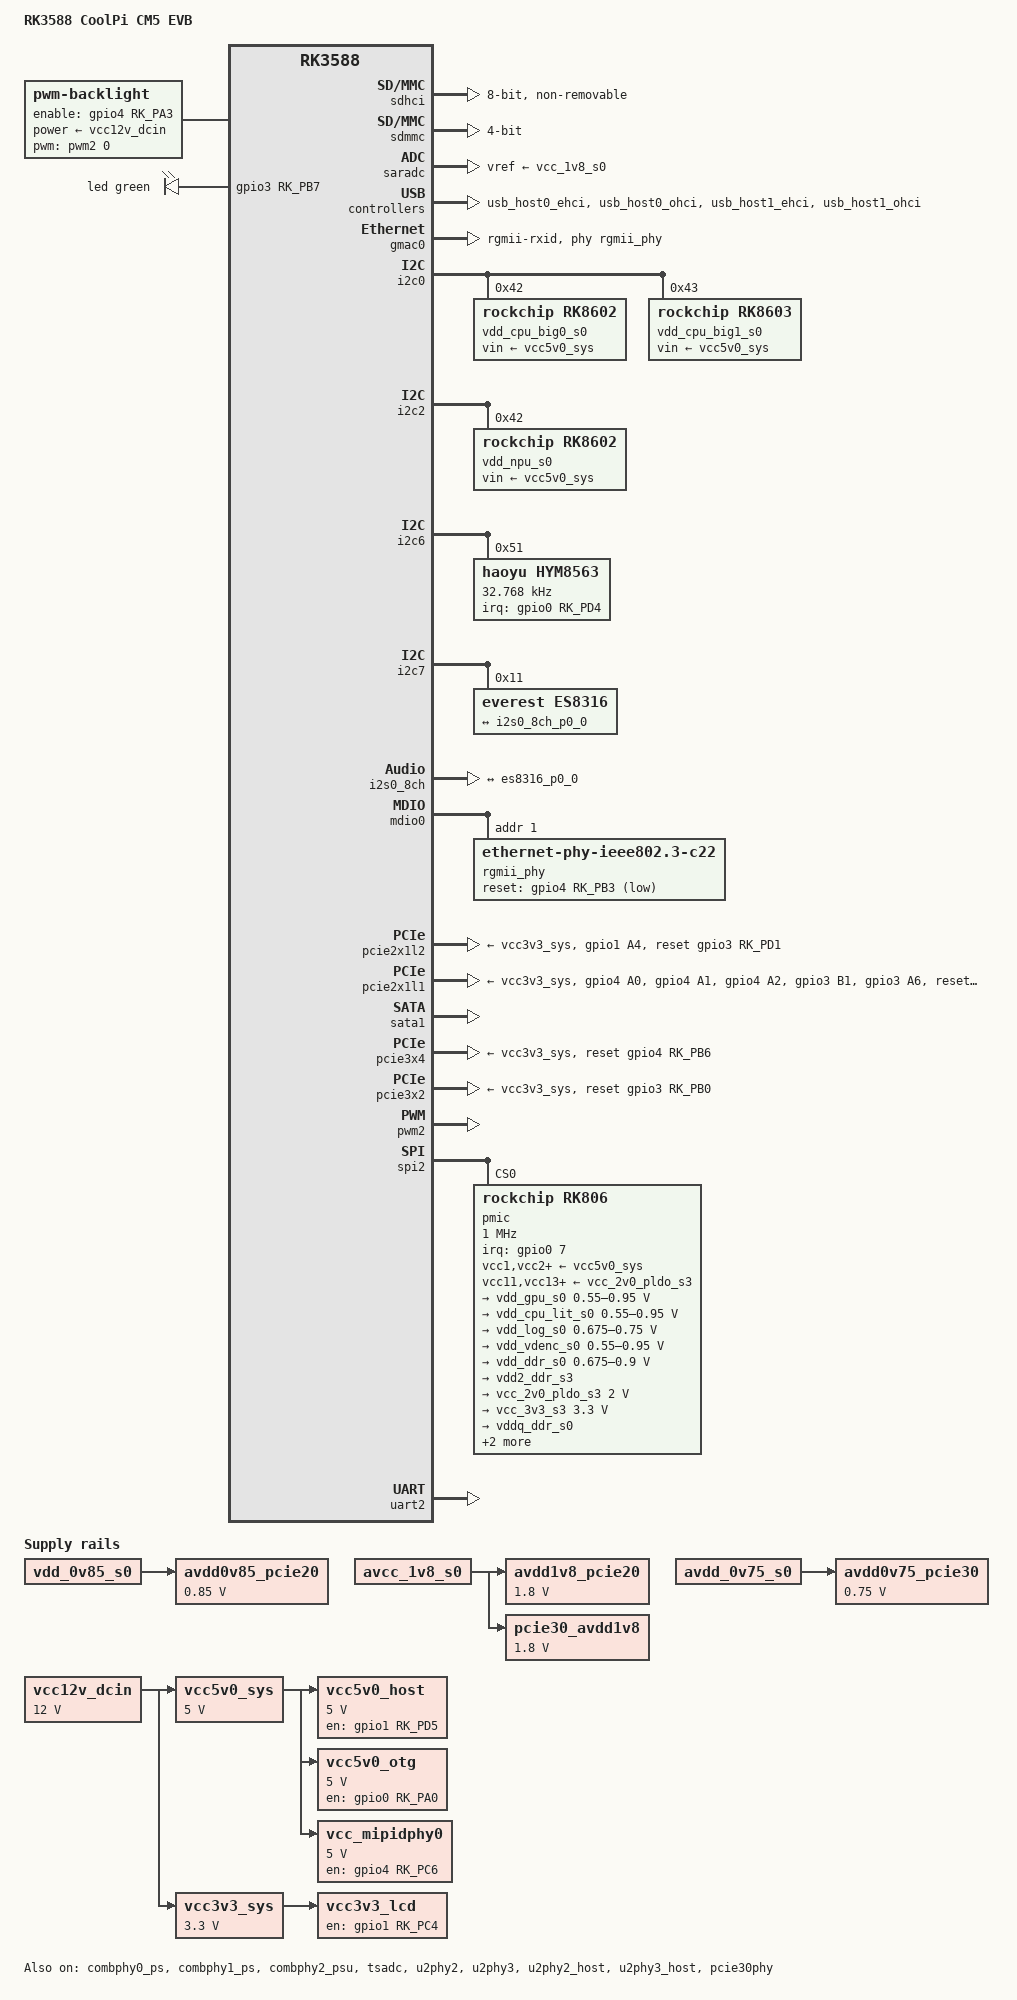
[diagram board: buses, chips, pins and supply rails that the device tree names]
// SPDX-License-Identifier: (GPL-2.0+ OR MIT)
/*
 * Copyright (c) 2023 Rockchip Electronics Co., Ltd.
 *
 */

/dts-v1/;

#include <dt-bindings/gpio/gpio.h>
#include <dt-bindings/leds/common.h>
#include <dt-bindings/pwm/pwm.h>
#include <dt-bindings/pinctrl/rockchip.h>
#include "rk3588.dtsi"

/ {
	model = "RK3588 CoolPi CM5 EVB";
	compatible = "coolpi,pi-cm5-evb", "rockchip,rk3588";

	aliases {
		mmc0 = &sdhci;
		mmc1 = &sdio;
		mmc2 = &sdmmc;
		serial2 = &uart2;
	};

	analog-sound {
		compatible = "audio-graph-card";
		label = "rk3588-es8316";

		widgets = "Microphone", "Mic Jack",
			  "Headphone", "Headphones";

		routing = "MIC2", "Mic Jack",
			  "Headphones", "HPOL",
			  "Headphones", "HPOR";

		dais = <&i2s0_8ch_p0>;
	};

	backlight: backlight {
		compatible = "pwm-backlight";
		power-supply = <&vcc12v_dcin>;
		pwms = <&pwm2 0 25000 0>;
		enable-gpios = <&gpio4 RK_PA3 GPIO_ACTIVE_HIGH>;
		pinctrl-names = "default";
		pinctrl-0 = <&bl_en>;
		status = "okay";
	};

	chosen {
		stdout-path = "serial2:1500000n8";
	};

	leds: leds {
		status = "okay";
		compatible = "gpio-leds";

		led: led-green {
			color = <LED_COLOR_ID_GREEN>;
			function = LED_FUNCTION_STATUS;
			gpios = <&gpio3 RK_PB7 GPIO_ACTIVE_HIGH>;
			linux,default-trigger = "heartbeat";
		};
	};

	vcc12v_dcin: vcc12v-dcin-regulator {
		compatible = "regulator-fixed";
		regulator-name = "vcc12v_dcin";
		regulator-always-on;
		regulator-boot-on;
		regulator-min-microvolt = <12000000>;
		regulator-max-microvolt = <12000000>;
	};

	vcc5v0_sys: vcc5v0-sys-regulator {
		compatible = "regulator-fixed";
		regulator-name = "vcc5v0_sys";
		regulator-always-on;
		regulator-boot-on;
		regulator-min-microvolt = <5000000>;
		regulator-max-microvolt = <5000000>;
		vin-supply = <&vcc12v_dcin>;
	};

	vcc3v3_sys: vcc3v3-sys-regulator {
		compatible = "regulator-fixed";
		regulator-name = "vcc3v3_sys";
		regulator-always-on;
		regulator-boot-on;
		regulator-min-microvolt = <3300000>;
		regulator-max-microvolt = <3300000>;
		vin-supply = <&vcc12v_dcin>;
	};

	vcc3v3_lcd: vcc3v3-lcd-regulator {
		compatible = "regulator-fixed";
		regulator-name = "vcc3v3_lcd";
		enable-active-high;
		gpio = <&gpio1 RK_PC4 GPIO_ACTIVE_HIGH>;
		pinctrl-names = "default";
		pinctrl-0 = <&lcdpwr_en>;
		vin-supply = <&vcc3v3_sys>;
	};

	avdd0v85_pcie20: avdd0v85-pcie20-regulator {
		compatible = "regulator-fixed";
		regulator-name = "avdd0v85_pcie20";
		regulator-boot-on;
		regulator-always-on;
		regulator-min-microvolt = <850000>;
		regulator-max-microvolt = <850000>;
		vin-supply = <&vdd_0v85_s0>;
	};

	avdd1v8_pcie20: avdd1v8-pcie20-regulator {
		compatible = "regulator-fixed";
		regulator-name = "avdd1v8_pcie20";
		regulator-boot-on;
		regulator-always-on;
		regulator-min-microvolt = <1800000>;
		regulator-max-microvolt = <1800000>;
		vin-supply = <&avcc_1v8_s0>;
	};

	avdd0v75_pcie30: avdd0v75-pcie30-regulator {
		compatible = "regulator-fixed";
		regulator-name = "avdd0v75_pcie30";
		regulator-boot-on;
		regulator-always-on;
		regulator-min-microvolt = <750000>;
		regulator-max-microvolt = <750000>;
		vin-supply = <&avdd_0v75_s0>;
	};

	pcie30_avdd1v8: avdd1v8-pcie30-regulator {
		compatible = "regulator-fixed";
		regulator-name = "pcie30_avdd1v8";
		regulator-boot-on;
		regulator-always-on;
		regulator-min-microvolt = <1800000>;
		regulator-max-microvolt = <1800000>;
		vin-supply = <&avcc_1v8_s0>;
	};

	vcc5v0_host: vcc5v0-host-regulator {
		compatible = "regulator-fixed";
		regulator-name = "vcc5v0_host";
		regulator-boot-on;
		regulator-always-on;
		enable-active-high;
		regulator-min-microvolt = <5000000>;
		regulator-max-microvolt = <5000000>;
		gpio = <&gpio1 RK_PD5 GPIO_ACTIVE_HIGH>;
		pinctrl-names = "default";
		pinctrl-0 = <&vcc5v0_host1_en>;
		vin-supply = <&vcc5v0_sys>;
	};

	vcc5v0_otg: vcc5v0-otg-regulator {
		compatible = "regulator-fixed";
		regulator-name = "vcc5v0_otg";
		regulator-boot-on;
		regulator-always-on;
		enable-active-high;
		regulator-min-microvolt = <5000000>;
		regulator-max-microvolt = <5000000>;
		gpios = <&gpio0 RK_PA0 GPIO_ACTIVE_HIGH>;
		pinctrl-names = "default";
		pinctrl-0 = <&typec5v_pwren>;
		vin-supply = <&vcc5v0_sys>;
	};

	vcc_mipidphy0: vcc-mipi-dphy0-regulator {
		compatible = "regulator-fixed";
		regulator-name = "vcc_mipidphy0";
		regulator-min-microvolt = <5000000>;
		regulator-max-microvolt = <5000000>;
		regulator-boot-on;
		regulator-always-on;
		enable-active-high;
		gpios = <&gpio4 RK_PC6 GPIO_ACTIVE_HIGH>;
		vin-supply = <&vcc5v0_sys>;
		pinctrl-names = "default";
		pinctrl-0 = <&cam_en>;
	};
};

&combphy0_ps {
	status = "okay";
};

&combphy1_ps {
	status = "okay";
};

&combphy2_psu {
	status = "okay";
};

&cpu_b0 {
	cpu-supply = <&vdd_cpu_big0_s0>;
};

&cpu_b1 {
	cpu-supply = <&vdd_cpu_big0_s0>;
};

&cpu_b2 {
	cpu-supply = <&vdd_cpu_big1_s0>;
};

&cpu_b3 {
	cpu-supply = <&vdd_cpu_big1_s0>;
};

&cpu_l0 {
	cpu-supply = <&vdd_cpu_lit_s0>;
};

&cpu_l1 {
	cpu-supply = <&vdd_cpu_lit_s0>;
};

&cpu_l2 {
	cpu-supply = <&vdd_cpu_lit_s0>;
};

&cpu_l3 {
	cpu-supply = <&vdd_cpu_lit_s0>;
};

&sdhci {
	bus-width = <8>;
	no-sdio;
	no-sd;
	non-removable;
	max-frequency = <200000000>;
	mmc-hs400-1_8v;
	mmc-hs400-enhanced-strobe;
	status = "okay";
};

&sdmmc {
	max-frequency = <150000000>;
	no-sdio;
	no-mmc;
	bus-width = <4>;
	cap-mmc-highspeed;
	cap-sd-highspeed;
	disable-wp;
	sd-uhs-sdr104;
	vqmmc-supply = <&vccio_sd_s0>;
	status = "okay";
};

&saradc {
	vref-supply = <&vcc_1v8_s0>;
	status = "okay";
};

&tsadc {
	status = "okay";
};

&u2phy2 {
	status = "okay";
};

&u2phy3 {
	status = "okay";
};

&u2phy2_host {
	phy-supply = <&vcc5v0_host>;
	status = "okay";
};

&u2phy3_host {
	phy-supply = <&vcc5v0_host>;
	status = "okay";
};

&usb_host0_ehci {
	status = "okay";
};

&usb_host0_ohci {
	status = "okay";
};

&usb_host1_ehci {
	status = "okay";
};

&usb_host1_ohci {
	status = "okay";
};

&gmac0 {
	clock_in_out = "output";
	phy-handle = <&rgmii_phy>;
	phy-mode = "rgmii-rxid";
	pinctrl-0 = <&gmac0_miim
		     &gmac0_tx_bus2
		     &gmac0_rx_bus2
		     &gmac0_rgmii_clk
		     &gmac0_rgmii_bus>;
	pinctrl-names = "default";
	rx_delay = <0x00>;
	tx_delay = <0x43>;
	status = "okay";
};

&i2c0 {
	pinctrl-names = "default";
	pinctrl-0 = <&i2c0m2_xfer>;
	status = "okay";

	vdd_cpu_big0_s0: regulator@42 {
		compatible = "rockchip,rk8602";
		reg = <0x42>;
		fcs,suspend-voltage-selector = <1>;
		regulator-name = "vdd_cpu_big0_s0";
		regulator-always-on;
		regulator-boot-on;
		regulator-min-microvolt = <550000>;
		regulator-max-microvolt = <1050000>;
		regulator-ramp-delay = <2300>;
		vin-supply = <&vcc5v0_sys>;

		regulator-state-mem {
			regulator-off-in-suspend;
		};
	};

	vdd_cpu_big1_s0: regulator@43 {
		compatible = "rockchip,rk8603", "rockchip,rk8602";
		reg = <0x43>;
		fcs,suspend-voltage-selector = <1>;
		regulator-name = "vdd_cpu_big1_s0";
		regulator-always-on;
		regulator-boot-on;
		regulator-min-microvolt = <550000>;
		regulator-max-microvolt = <1050000>;
		regulator-ramp-delay = <2300>;
		vin-supply = <&vcc5v0_sys>;

		regulator-state-mem {
			regulator-off-in-suspend;
		};
	};
};

&i2c2 {
	status = "okay";

	vdd_npu_s0: regulator@42 {
		compatible = "rockchip,rk8602";
		reg = <0x42>;
		fcs,suspend-voltage-selector = <1>;
		regulator-name = "vdd_npu_s0";
		regulator-always-on;
		regulator-boot-on;
		regulator-min-microvolt = <550000>;
		regulator-max-microvolt = <950000>;
		regulator-ramp-delay = <2300>;
		vin-supply = <&vcc5v0_sys>;

		regulator-state-mem {
			regulator-off-in-suspend;
		};
	};
};

&i2c6 {
	status = "okay";

	hym8563: rtc@51 {
		compatible = "haoyu,hym8563";
		reg = <0x51>;
		#clock-cells = <0>;
		clock-frequency = <32768>;
		clock-output-names = "hym8563";
		pinctrl-names = "default";
		pinctrl-0 = <&hym8563_int>;
		interrupt-parent = <&gpio0>;
		interrupts = <RK_PD4 IRQ_TYPE_LEVEL_LOW>;
		wakeup-source;
	};
};

&i2c7 {
	pinctrl-names = "default";
	pinctrl-0 = <&i2c7m0_xfer>;
	status = "okay";

	es8316: audio-codec@11 {
		compatible = "everest,es8316";
		reg = <0x11>;
		clocks = <&cru I2S0_8CH_MCLKOUT>;
		clock-names = "mclk";
		assigned-clocks = <&cru I2S0_8CH_MCLKOUT>;
		assigned-clock-rates = <12288000>;
		#sound-dai-cells = <0>;

		port {
			es8316_p0_0: endpoint {
				remote-endpoint = <&i2s0_8ch_p0_0>;
			};
		};
	};
};

&i2s0_8ch {
	pinctrl-names = "default";
	pinctrl-0 = <&i2s0_lrck
		     &i2s0_mclk
		     &i2s0_sclk
		     &i2s0_sdi0
		     &i2s0_sdo0>;
	status = "okay";

	i2s0_8ch_p0: port {
		i2s0_8ch_p0_0: endpoint {
			dai-format = "i2s";
			mclk-fs = <256>;
			remote-endpoint = <&es8316_p0_0>;
		};
	};
};

&mdio0 {
	rgmii_phy: ethernet-phy@1 {
		/* YT8531C/H */
		compatible = "ethernet-phy-ieee802.3-c22";
		reg = <0x1>;
		pinctrl-names = "default";
		pinctrl-0 = <&yt8531_rst>;
		reset-assert-us = <20000>;
		reset-deassert-us = <100000>;
		reset-gpios = <&gpio4 RK_PB3 GPIO_ACTIVE_LOW>;
	};
};

&pcie30phy {
	status = "okay";
};

//ethernet
&pcie2x1l2 {
	reset-gpios = <&gpio3 RK_PD1 GPIO_ACTIVE_HIGH>;
	vpcie3v3-supply = <&vcc3v3_sys>;
	pinctrl-names = "default";
	pinctrl-0 = <&rtl8111_isolate>;
	status = "okay";
};

//wifi
&pcie2x1l1 {
	reset-gpios = <&gpio4 RK_PA2 GPIO_ACTIVE_HIGH>;
	vpcie3v3-supply = <&vcc3v3_sys>;
	pinctrl-names = "default";
	pinctrl-0 = <&pcie_clkreq &pcie_wake &pcie_rst &wifi_pwron &bt_pwron>;
	status = "okay";
};

&sata1 {
	status = "okay";
};

//ssd
&pcie3x4 {
	reset-gpios = <&gpio4 RK_PB6 GPIO_ACTIVE_HIGH>;
	vpcie3v3-supply = <&vcc3v3_sys>;
	status = "okay";
};

//express
&pcie3x2 {
	reset-gpios = <&gpio3 RK_PB0 GPIO_ACTIVE_HIGH>;
	vpcie3v3-supply = <&vcc3v3_sys>;
	status = "okay";
};

&pwm2 {
	status = "okay";
};

&spi2 {
	status = "okay";
	assigned-clocks = <&cru CLK_SPI2>;
	assigned-clock-rates = <200000000>;
	pinctrl-names = "default";
	pinctrl-0 = <&spi2m2_cs0 &spi2m2_pins>;
	num-cs = <1>;

	pmic@0 {
		compatible = "rockchip,rk806";
		spi-max-frequency = <1000000>;
		reg = <0x0>;

		interrupt-parent = <&gpio0>;
		interrupts = <7 IRQ_TYPE_LEVEL_LOW>;

		pinctrl-names = "default";
		pinctrl-0 = <&pmic_pins>, <&rk806_dvs1_null>,
			    <&rk806_dvs2_null>, <&rk806_dvs3_null>;

		vcc1-supply = <&vcc5v0_sys>;
		vcc2-supply = <&vcc5v0_sys>;
		vcc3-supply = <&vcc5v0_sys>;
		vcc4-supply = <&vcc5v0_sys>;
		vcc5-supply = <&vcc5v0_sys>;
		vcc6-supply = <&vcc5v0_sys>;
		vcc7-supply = <&vcc5v0_sys>;
		vcc8-supply = <&vcc5v0_sys>;
		vcc9-supply = <&vcc5v0_sys>;
		vcc10-supply = <&vcc5v0_sys>;
		vcc11-supply = <&vcc_2v0_pldo_s3>;
		vcc12-supply = <&vcc5v0_sys>;
		vcc13-supply = <&vcc_2v0_pldo_s3>;
		vcc14-supply = <&vcc_2v0_pldo_s3>;
		vcca-supply = <&vcc5v0_sys>;

		gpio-controller;
		#gpio-cells = <2>;

		rk806_dvs1_null: dvs1-null-pins {
			pins = "gpio_pwrctrl2";
			function = "pin_fun0";
		};

		rk806_dvs2_null: dvs2-null-pins {
			pins = "gpio_pwrctrl2";
			function = "pin_fun0";
		};

		rk806_dvs3_null: dvs3-null-pins {
			pins = "gpio_pwrctrl3";
			function = "pin_fun0";
		};

		regulators {
			vdd_gpu_s0: vdd_gpu_mem_s0: dcdc-reg1 {
				regulator-boot-on;
				regulator-min-microvolt = <550000>;
				regulator-max-microvolt = <950000>;
				regulator-ramp-delay = <12500>;
				regulator-name = "vdd_gpu_s0";
				regulator-enable-ramp-delay = <400>;

				regulator-state-mem {
					regulator-off-in-suspend;
				};
			};

			vdd_cpu_lit_s0: vdd_cpu_lit_mem_s0: dcdc-reg2 {
				regulator-always-on;
				regulator-boot-on;
				regulator-min-microvolt = <550000>;
				regulator-max-microvolt = <950000>;
				regulator-ramp-delay = <12500>;
				regulator-name = "vdd_cpu_lit_s0";

				regulator-state-mem {
					regulator-off-in-suspend;
				};
			};

			vdd_log_s0: dcdc-reg3 {
				regulator-always-on;
				regulator-boot-on;
				regulator-min-microvolt = <675000>;
				regulator-max-microvolt = <750000>;
				regulator-ramp-delay = <12500>;
				regulator-name = "vdd_log_s0";

				regulator-state-mem {
					regulator-off-in-suspend;
					regulator-suspend-microvolt = <750000>;
				};
			};

			vdd_vdenc_s0: vdd_vdenc_mem_s0: dcdc-reg4 {
				regulator-always-on;
				regulator-boot-on;
				regulator-min-microvolt = <550000>;
				regulator-max-microvolt = <950000>;
				regulator-ramp-delay = <12500>;
				regulator-name = "vdd_vdenc_s0";

				regulator-state-mem {
					regulator-off-in-suspend;
				};
			};

			vdd_ddr_s0: dcdc-reg5 {
				regulator-always-on;
				regulator-boot-on;
				regulator-min-microvolt = <675000>;
				regulator-max-microvolt = <900000>;
				regulator-ramp-delay = <12500>;
				regulator-name = "vdd_ddr_s0";

				regulator-state-mem {
					regulator-off-in-suspend;
					regulator-suspend-microvolt = <850000>;
				};
			};

			vdd2_ddr_s3: dcdc-reg6 {
				regulator-always-on;
				regulator-boot-on;
				regulator-name = "vdd2_ddr_s3";

				regulator-state-mem {
					regulator-on-in-suspend;
				};
			};

			vcc_2v0_pldo_s3: dcdc-reg7 {
				regulator-always-on;
				regulator-boot-on;
				regulator-min-microvolt = <2000000>;
				regulator-max-microvolt = <2000000>;
				regulator-ramp-delay = <12500>;
				regulator-name = "vdd_2v0_pldo_s3";

				regulator-state-mem {
					regulator-on-in-suspend;
					regulator-suspend-microvolt = <2000000>;
				};
			};

			vcc_3v3_s3: dcdc-reg8 {
				regulator-always-on;
				regulator-boot-on;
				regulator-min-microvolt = <3300000>;
				regulator-max-microvolt = <3300000>;
				regulator-name = "vcc_3v3_s3";

				regulator-state-mem {
					regulator-on-in-suspend;
					regulator-suspend-microvolt = <3300000>;
				};
			};

			vddq_ddr_s0: dcdc-reg9 {
				regulator-always-on;
				regulator-boot-on;
				regulator-name = "vddq_ddr_s0";

				regulator-state-mem {
					regulator-off-in-suspend;
				};
			};

			vcc_1v8_s3: dcdc-reg10 {
				regulator-always-on;
				regulator-boot-on;
				regulator-min-microvolt = <1800000>;
				regulator-max-microvolt = <1800000>;
				regulator-name = "vcc_1v8_s3";

				regulator-state-mem {
					regulator-on-in-suspend;
					regulator-suspend-microvolt = <1800000>;
				};
			};

			avcc_1v8_s0: pldo-reg1 {
				regulator-always-on;
				regulator-boot-on;
				regulator-min-microvolt = <1800000>;
				regulator-max-microvolt = <1800000>;
				regulator-name = "avcc_1v8_s0";

				regulator-state-mem {
					regulator-off-in-suspend;
				};
			};

			vcc_1v8_s0: pldo-reg2 {
				regulator-always-on;
				regulator-boot-on;
				regulator-min-microvolt = <1800000>;
				regulator-max-microvolt = <1800000>;
				regulator-name = "vcc_1v8_s0";

				regulator-state-mem {
					regulator-off-in-suspend;
					regulator-suspend-microvolt = <1800000>;
				};
			};

			avdd_1v2_s0: pldo-reg3 {
				regulator-always-on;
				regulator-boot-on;
				regulator-min-microvolt = <1200000>;
				regulator-max-microvolt = <1200000>;
				regulator-name = "avdd_1v2_s0";

				regulator-state-mem {
					regulator-off-in-suspend;
				};
			};

			vcc_3v3_s0: pldo-reg4 {
				regulator-always-on;
				regulator-boot-on;
				regulator-min-microvolt = <3300000>;
				regulator-max-microvolt = <3300000>;
				regulator-ramp-delay = <12500>;
				regulator-name = "vcc_3v3_s0";

				regulator-state-mem {
					regulator-off-in-suspend;
				};
			};

			vccio_sd_s0: pldo-reg5 {
				regulator-always-on;
				regulator-boot-on;
				regulator-min-microvolt = <1800000>;
				regulator-max-microvolt = <3300000>;
				regulator-ramp-delay = <12500>;
				regulator-name = "vccio_sd_s0";

				regulator-state-mem {
					regulator-off-in-suspend;
				};
			};

			pldo6_s3: pldo-reg6 {
				regulator-always-on;
				regulator-boot-on;
				regulator-min-microvolt = <1800000>;
				regulator-max-microvolt = <1800000>;
				regulator-name = "pldo6_s3";

				regulator-state-mem {
					regulator-on-in-suspend;
					regulator-suspend-microvolt = <1800000>;
				};
			};

			vdd_0v75_s3: nldo-reg1 {
				regulator-always-on;
				regulator-boot-on;
				regulator-min-microvolt = <750000>;
				regulator-max-microvolt = <750000>;
				regulator-name = "vdd_0v75_s3";

				regulator-state-mem {
					regulator-on-in-suspend;
					regulator-suspend-microvolt = <750000>;
				};
			};

			vdd_ddr_pll_s0: nldo-reg2 {
				regulator-always-on;
				regulator-boot-on;
				regulator-min-microvolt = <850000>;
				regulator-max-microvolt = <850000>;
				regulator-name = "vdd_ddr_pll_s0";

				regulator-state-mem {
					regulator-off-in-suspend;
					regulator-suspend-microvolt = <850000>;
				};
			};

			avdd_0v75_s0: nldo-reg3 {
				regulator-always-on;
				regulator-boot-on;
				regulator-min-microvolt = <750000>;
				regulator-max-microvolt = <750000>;
				regulator-name = "avdd_0v75_s0";

				regulator-state-mem {
					regulator-off-in-suspend;
				};
			};

			vdd_0v85_s0: nldo-reg4 {
				regulator-always-on;
				regulator-boot-on;
				regulator-min-microvolt = <850000>;
				regulator-max-microvolt = <850000>;
				regulator-name = "vdd_0v85_s0";

				regulator-state-mem {
					regulator-off-in-suspend;
				};
			};

			vdd_0v75_s0: nldo-reg5 {
				regulator-always-on;
				regulator-boot-on;
				regulator-min-microvolt = <750000>;
				regulator-max-microvolt = <750000>;
				regulator-name = "vdd_0v75_s0";

				regulator-state-mem {
					regulator-off-in-suspend;
				};
			};
		};
	};
};

&uart2 {
	status = "okay";
	pinctrl-names = "default";
	pinctrl-0 = <&uart2m0_xfer>;
};

&pinctrl {
	hym8563 {
		hym8563_int: hym8563-int {
			rockchip,pins = <0 RK_PD4 RK_FUNC_GPIO &pcfg_pull_up>;
		};
	};

	rtl8111 {
		rtl8111_isolate: rtl8111-isolate {
			rockchip,pins = <1 RK_PA4 RK_FUNC_GPIO &pcfg_pull_up>;
		};
	};

	rtl8211f {
		yt8531_rst: yt8531-rst {
			rockchip,pins = <4 RK_PB3 RK_FUNC_GPIO &pcfg_pull_none>;
		};
	};

	usb {
		vcc5v0_host1_en: vcc5v0-host1-en {
			rockchip,pins = <1 RK_PD5 RK_FUNC_GPIO &pcfg_pull_up>;
		};
	};

	usb-typec {
		typec5v_pwren: typec5v-pwren {
			rockchip,pins = <0 RK_PA0 RK_FUNC_GPIO &pcfg_pull_up>;
		};
	};

	hdmi {
		hdmirx_det: hdmirx-det {
			rockchip,pins = <2 RK_PB5 RK_FUNC_GPIO &pcfg_pull_up>;
		};
	};

	wifi {
		pcie_rst: pcie-rst {
			rockchip,pins = <4 RK_PA2 RK_FUNC_GPIO &pcfg_pull_up>;
		};
		pcie_clkreq: pcie-clkreq {
			rockchip,pins = <4 RK_PA0 RK_FUNC_GPIO &pcfg_pull_up>;
		};
		pcie_wake: pcie-wake {
			rockchip,pins = <4 RK_PA1 RK_FUNC_GPIO &pcfg_pull_up>;
		};
		wifi_pwron: wifi-pwron {
			rockchip,pins = <3 RK_PB1 RK_FUNC_GPIO &pcfg_pull_up>;
		};
		bt_pwron: bt-pwron {
			rockchip,pins = <3 RK_PA6 RK_FUNC_GPIO &pcfg_pull_up>;
		};
	};

	lcd {
		lcdpwr_en: lcdpwr-en {
			rockchip,pins = <1 RK_PC4 RK_FUNC_GPIO &pcfg_pull_down>;
		};
		bl_en: bl-en {
			rockchip,pins = <4 RK_PA3 RK_FUNC_GPIO &pcfg_pull_none>;
		};
	};

	cam {
		cam_en: cam-en {
			rockchip,pins = <4 RK_PC6 RK_FUNC_GPIO &pcfg_output_high>;
		};
	};
};
